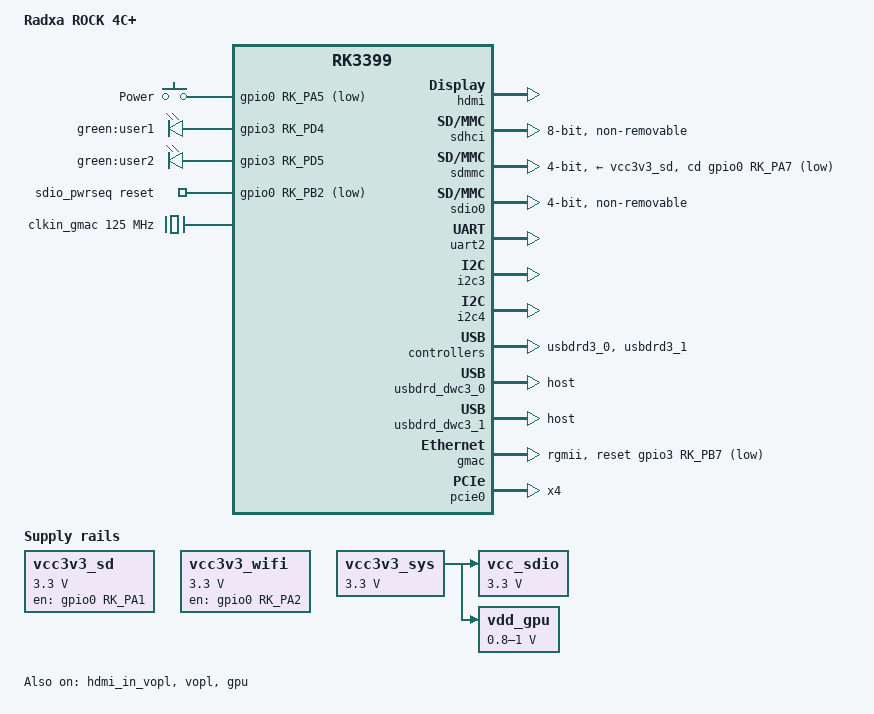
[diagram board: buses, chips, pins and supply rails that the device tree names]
// SPDX-License-Identifier: (GPL-2.0+ OR MIT)
/*
 * Device Tree for Radxa ROCK 4C+
 * Based on RK3399-T (lower-clocked RK3399 variant)
 *
 * Adapted from ROCK Pi 4 / Vaaman device tree.
 * Key differences for ROCK 4C+:
 *   - RK3399-T OPP table (lower CPU/GPU frequencies)
 *   - AP6256 Wi-Fi/BT (same as ROCK Pi 4)
 *   - HDMI up to 4K@60
 *   - 2GB/4GB LPDDR4
 *   - 40-pin GPIO header
 *   - M.2 M-Key (PCIe 2.0 x4)
 */

/dts-v1/;

#include "rk3399.dtsi"
#include "rk3399-opp.dtsi"
#include <dt-bindings/input/input.h>

/ {
	model = "Radxa ROCK 4C+";
	compatible = "radxa,rock-4c-plus", "rockchip,rk3399";

	chosen {
		stdout-path = "serial2:1500000n8";
		bootargs = "earlycon=uart8250,mmio32,0xff1a0000 swiotlb=1 coherent_pool=1m";
	};

	/* RK3399-T OPP table override */
	cluster0_opp: opp-table0 {
		compatible = "operating-points-v2";
		opp-shared;

		opp-600000000 {
			opp-hz = /bits/ 64 <600000000>;
			opp-microvolt = <825000>;
			clock-latency-ns = <40000>;
		};
		opp-816000000 {
			opp-hz = /bits/ 64 <816000000>;
			opp-microvolt = <850000>;
			clock-latency-ns = <40000>;
		};
		opp-1008000000 {
			opp-hz = /bits/ 64 <1008000000>;
			opp-microvolt = <925000>;
			clock-latency-ns = <40000>;
		};
	};

	cluster1_opp: opp-table1 {
		compatible = "operating-points-v2";
		opp-shared;

		opp-600000000 {
			opp-hz = /bits/ 64 <600000000>;
			opp-microvolt = <825000>;
			clock-latency-ns = <40000>;
		};
		opp-816000000 {
			opp-hz = /bits/ 64 <816000000>;
			opp-microvolt = <850000>;
			clock-latency-ns = <40000>;
		};
		opp-1008000000 {
			opp-hz = /bits/ 64 <1008000000>;
			opp-microvolt = <875000>;
			clock-latency-ns = <40000>;
		};
		opp-1200000000 {
			opp-hz = /bits/ 64 <1200000000>;
			opp-microvolt = <950000>;
			clock-latency-ns = <40000>;
		};
		opp-1416000000 {
			opp-hz = /bits/ 64 <1416000000>;
			opp-microvolt = <1025000>;
			clock-latency-ns = <40000>;
		};
		opp-1512000000 {
			opp-hz = /bits/ 64 <1512000000>;
			opp-microvolt = <1075000>;
			clock-latency-ns = <40000>;
		};
	};

	/* GPIO keys */
	gpio-keys {
		compatible = "gpio-keys";
		pinctrl-names = "default";
		pinctrl-0 = <&pwrbtn>;

		power {
			debounce-interval = <100>;
			gpios = <&gpio0 RK_PA5 GPIO_ACTIVE_LOW>;
			label = "Power";
			linux,code = <KEY_POWER>;
			wakeup-source;
		};
	};

	/* LEDs */
	leds {
		compatible = "gpio-leds";
		pinctrl-names = "default";
		pinctrl-0 = <&user_led1>, <&user_led2>;

		user-led1 {
			label = "green:user1";
			gpios = <&gpio3 RK_PD4 GPIO_ACTIVE_HIGH>;
			linux,default-trigger = "heartbeat";
		};

		user-led2 {
			label = "green:user2";
			gpios = <&gpio3 RK_PD5 GPIO_ACTIVE_HIGH>;
			default-state = "off";
		};
	};

	/* HDMI sound */
	hdmi-sound {
		compatible = "simple-audio-card";
		simple-audio-card,format = "i2s";
		simple-audio-card,mclk-fs = <256>;
		simple-audio-card,name = "rockchip,hdmi";

		simple-audio-card,cpu {
			sound-dai = <&i2s2>;
		};
		simple-audio-card,codec {
			sound-dai = <&hdmi>;
		};
	};

	/* SD card power */
	vcc3v3_sd: vcc3v3-sd {
		compatible = "regulator-fixed";
		regulator-name = "vcc3v3_sd";
		regulator-min-microvolt = <3300000>;
		regulator-max-microvolt = <3300000>;
		enable-active-high;
		gpio = <&gpio0 RK_PA1 GPIO_ACTIVE_HIGH>;
		pinctrl-names = "default";
		pinctrl-0 = <&sdmmc0_pwr_h>;
	};

	/* Wi-Fi / BT power */
	vcc3v3_wifi: vcc3v3-wifi {
		compatible = "regulator-fixed";
		regulator-name = "vcc3v3_wifi";
		regulator-min-microvolt = <3300000>;
		regulator-max-microvolt = <3300000>;
		enable-active-high;
		gpio = <&gpio0 RK_PA2 GPIO_ACTIVE_HIGH>;
		pinctrl-names = "default";
		pinctrl-0 = <&wifi_enable_h>;
	};

	/* SDIO power regulator */
	vcc_sdio: vcc-sdio {
		compatible = "regulator-fixed";
		regulator-name = "vcc_sdio";
		regulator-min-microvolt = <3300000>;
		regulator-max-microvolt = <3300000>;
		regulator-always-on;
		vin-supply = <&vcc3v3_sys>;
	};

	/* Wi-Fi SDIO power sequence */
	sdio_pwrseq: sdio-pwrseq {
		compatible = "mmc-pwrseq-simple";
		pinctrl-names = "default";
		pinctrl-0 = <&wifi_enable_h>;
		reset-gpios = <&gpio0 RK_PB2 GPIO_ACTIVE_LOW>;
	};

	/* GMAC clock input */
	clkin_gmac: external-gmac-clock {
		compatible = "fixed-clock";
		clock-frequency = <125000000>;
		clock-output-names = "clkin_gmac";
		#clock-cells = <0>;
	};

	/* System power rail (referenced by other regulators) */
	vcc3v3_sys: vcc3v3-sys {
		compatible = "regulator-fixed";
		regulator-name = "vcc3v3_sys";
		regulator-min-microvolt = <3300000>;
		regulator-max-microvolt = <3300000>;
		regulator-always-on;
	};

	/* GPU power rail */
	vdd_gpu: vdd-gpu {
		compatible = "regulator-fixed";
		regulator-name = "vdd_gpu";
		regulator-min-microvolt = <800000>;
		regulator-max-microvolt = <1000000>;
		regulator-always-on;
		vin-supply = <&vcc3v3_sys>;
	};
};

/* CPU OPP assignment */
&cpu_l0 { operating-points-v2 = <&cluster0_opp>; };
&cpu_l1 { operating-points-v2 = <&cluster0_opp>; };
&cpu_l2 { operating-points-v2 = <&cluster0_opp>; };
&cpu_l3 { operating-points-v2 = <&cluster0_opp>; };
&cpu_b0 { operating-points-v2 = <&cluster1_opp>; };
&cpu_b1 { operating-points-v2 = <&cluster1_opp>; };

/* HDMI */
&hdmi {
	status = "okay";
	ddc-i2c-bus = <&i2c3>;
};

&hdmi_in_vopl {
	status = "okay";
};

&hdmi_in_vopb {
	status = "disabled";
};

/* Display */
&vopl {
	status = "okay";
};

&vopl_mmu {
	status = "okay";
};

&vopb {
	status = "disabled";
};

&vopb_mmu {
	status = "disabled";
};

/* eMMC */
&sdhci {
	bus-width = <8>;
	mmc-hs400-1_8v;
	mmc-hs400-enhanced-strobe;
	non-removable;
	status = "okay";
};

/* microSD */
&sdmmc {
	bus-width = <4>;
	cap-mmc-highspeed;
	cap-sd-highspeed;
	cd-gpios = <&gpio0 RK_PA7 GPIO_ACTIVE_LOW>;
	disable-wp;
	max-frequency = <150000000>;
	pinctrl-names = "default";
	pinctrl-0 = <&sdmmc_clk &sdmmc_cmd &sdmmc_cd &sdmmc_bus4>;
	vmmc-supply = <&vcc3v3_sd>;
	vqmmc-supply = <&vcc_sdio>;
	status = "okay";
};

/* Wi-Fi (SDIO) */
&sdio0 {
	bus-width = <4>;
	cap-sd-highspeed;
	cap-sdio-irq;
	keep-power-in-suspend;
	max-frequency = <100000000>;
	mmc-pwrseq = <&sdio_pwrseq>;
	non-removable;
	pinctrl-names = "default";
	pinctrl-0 = <&sdio0_bus4 &sdio0_cmd &sdio0_clk>;
	sd-uhs-sdr104;
	status = "okay";
};

/* UART for console */
&uart2 {
	status = "okay";
};

/* I2C */
&i2c3 {
	i2c-scl-rising-time-ns = <450>;
	i2c-scl-falling-time-ns = <15>;
	status = "okay";
};

&i2c4 {
	status = "okay";
};

/* USB */
&usbdrd3_0 {
	status = "okay";
};

&usbdrd_dwc3_0 {
	dr_mode = "host";
	status = "okay";
};

&usbdrd3_1 {
	status = "okay";
};

&usbdrd_dwc3_1 {
	dr_mode = "host";
	status = "okay";
};

/* Gigabit Ethernet */
&gmac {
	assigned-clocks = <&cru SCLK_RMII_SRC>;
	assigned-clock-parents = <&clkin_gmac>;
	clock_in_out = "input";
	phy-mode = "rgmii";
	pinctrl-names = "default";
	pinctrl-0 = <&rgmii_pins>;
	snps,reset-gpio = <&gpio3 RK_PB7 GPIO_ACTIVE_LOW>;
	snps,reset-active-low;
	snps,reset-delays-us = <0 10000 50000>;
	tx_delay = <0x28>;
	rx_delay = <0x11>;
	status = "okay";
};

/* PCIe (M.2 slot) */
&pcie0 {
	ep-gpios = <&gpio4 RK_PD3 GPIO_ACTIVE_HIGH>;
	max-link-speed = <2>;
	num-lanes = <4>;
	pinctrl-names = "default";
	pinctrl-0 = <&pcie_clkreqn_cpm>;
	status = "okay";
};

/* GPU */
&gpu {
	mali-supply = <&vdd_gpu>;
	status = "okay";
};

/* Pin control */
&pinctrl {
	pwrbtn {
		pwrbtn: pwrbtn {
			rockchip,pins = <0 RK_PA5 RK_FUNC_GPIO &pcfg_pull_up>;
		};
	};

	leds {
		user_led1: user-led1 {
			rockchip,pins = <3 RK_PD4 RK_FUNC_GPIO &pcfg_pull_none>;
		};
		user_led2: user-led2 {
			rockchip,pins = <3 RK_PD5 RK_FUNC_GPIO &pcfg_pull_none>;
		};
	};

	sdmmc {
		sdmmc0_pwr_h: sdmmc0-pwr-h {
			rockchip,pins = <0 RK_PA1 RK_FUNC_GPIO &pcfg_pull_none>;
		};
	};

	wifi {
		wifi_enable_h: wifi-enable-h {
			rockchip,pins = <0 RK_PA2 RK_FUNC_GPIO &pcfg_pull_none>;
		};
	};
};
